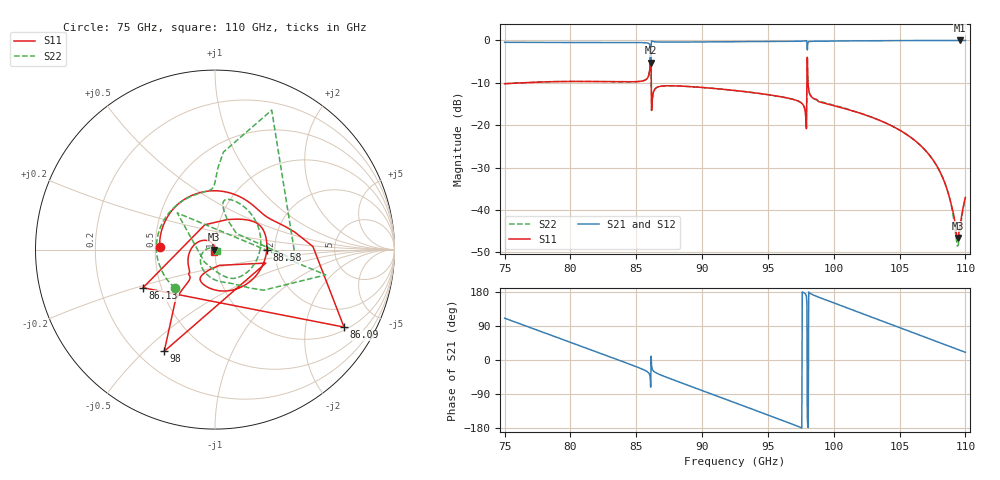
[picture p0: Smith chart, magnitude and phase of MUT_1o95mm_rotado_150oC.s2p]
! TOUCHSTONE file generated by CST MICROWAVE STUDIO
! Date and time: Wed Feb 14 17:05:45 2024
! Project name: material_rotado.cst
! Parameters = {angY=1.5}
! Header version: 2018
! Port assignment regex: !\s*Touchstone port\s*([0-9]+)\s*=\s*(CST MWS port|CST DS port)\s*([0-9]+|Zmin|Zmax)\s*\(\"(.*)\"\)(\s*mode\s*([0-9]+))?.*
! Touchstone port assignment:
! Touchstone port 1 = CST MWS port 1 ("")
! Touchstone port 2 = CST MWS port 2 ("")
# GHz S MA R 376.7
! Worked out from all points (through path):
!   1001 points, 75 GHz to 110 GHz, reference 376.7 ohm
!   highest |S21| = 0.00 dB at 109.6 GHz (marker M1); lowest = -5.3 dB at 86.09 GHz (marker M2)
!   lowest |S11| = -46.6 dB at 109.4 GHz (marker M3), VSWR 1.01, Z = 373 - j0.84 ohm
!   |S11| at or under -10 dB: start of sweep to 76.33 GHz; 86.14 GHz to 97.96 GHz (11.82 GHz wide, 12.8 % of centre); 98.05 GHz to end of sweep
!   |S22| runs from -48.6 to -1.5 dB; largest |S21 - S12| = 0
!   S11 on the Smith chart (normalised r, x): 75 GHz: 0.53, +0.02; 86.09 GHz: 1.12, -3.25; 86.13 GHz: 0.40, -0.21; 88.58 GHz: 1.81, -0.00; 98 GHz: 0.30, -0.58; 110 GHz: 0.99, -0.03
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75  0.3086 177.0  0.9512 110.4  0.9512 110.4  0.3086 -136.3
77.835  0.3236 139.9  0.9463 74.2  0.9463 74.2  0.3245 -171.6
80.845  0.3283 100.5  0.9446 35.9  0.9446 35.9  0.3283 151.2
83.75  0.3252 61.7  0.9456 -1.4  0.9456 -1.4  0.3252 115.6
85.92  0.3772 23.7  0.9261 -33.2  0.9261 -33.2  0.3772 89.9
86.095  0.8387 -31.0  0.5445 -71.6  0.5445 -71.6  0.8387 67.9
86.13  0.4539 -152.1  0.8911 10.2  0.8911 10.2  0.4539 -7.4
86.305  0.2444 42.5  0.9697 -29.0  0.9697 -29.0  0.2444 79.4
86.69  0.2843 28.0  0.9588 -37.0  0.9588 -37.0  0.2843 78.1
88.58  0.2883 -0.2  0.9576 -62.3  0.9576 -62.3  0.2883 55.6
92.5  0.2566 -52.5  0.9665 -112.8  0.9665 -112.8  0.2566 6.9
95.65  0.2211 -93.9  0.9753 -153.6  0.9753 -153.6  0.2211 -33.2
97.75  0.1645 -117.4  0.9864 177.2  0.9864 177.2  0.1646 -68.1
97.995  0.6331 -116.5  0.7741 -154.7  0.7741 -154.7  0.6331 -12.9
98.345  0.2131 -131.0  0.977 173.2  0.977 173.2  0.2134 -62.7
101.495  0.1466 -170.9  0.9892 131.2  0.9892 131.2  0.1465 -107.1
104.19  0.102 154.9  0.9948 96.0  0.9948 96.0  0.102 -142.8
107.795  0.03375 111.1  0.9994 49.0  0.9994 49.0  0.03373 166.7
108.705  0.01559 104.6  0.9998 37.1  0.9998 37.1  0.01566 149.7
109.405  0.004677 -166.1  1 28.0  1 28.0  0.003732 62.1
109.58  0.006287 -131.1  1 25.7  1 25.7  0.005414 10.4
110  0.01404 -114.6  0.9999 20.3  0.9999 20.3  0.01404 -24.9
